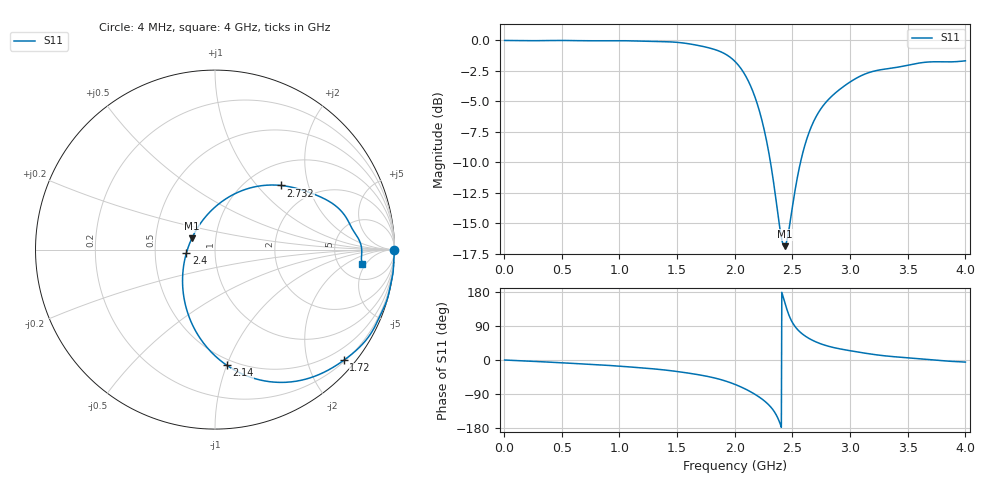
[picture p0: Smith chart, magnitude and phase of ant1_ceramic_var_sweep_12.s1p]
! TOUCHSTONE file generated by CST MICROWAVE STUDIO
! Date and time: Fri May  6 09:22:52 2022
! Project name: ant1_ceramic_sweep_10porcent.cst
! Parameters = {e=0.035; h=1.6; i=0.8; l1=0.5; l2=17.17; ls=80; wl=1.7; ws=30}
! Header version: 2018
! Port assignment regex: !\s*Touchstone port\s*([0-9]+)\s*=\s*(CST MWS port|CST DS port)\s*([0-9]+|Zmin|Zmax)\s*\(\"(.*)\"\)(\s*mode\s*([0-9]+))?.*
! Touchstone port assignment:
! Touchstone port 1 = CST MWS port 1 ("")
# GHz S DB R 50
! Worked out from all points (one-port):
!   1000 points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, 4 MHz to 4 GHz, reference 50 ohm
!   lowest |S11| = -16.9 dB at 2.432 GHz (marker M1), VSWR 1.34, Z = 38.3 + j4.96 ohm
!   |S11| at or under -10 dB: 2.31 GHz to 2.57 GHz (259.7 MHz wide, 10.6 % of centre)
!   S11 on the Smith chart (normalised r, x): 4 MHz: open; 1.72 GHz: 0.23, -2.68; 2.14 GHz: 0.45, -1.00; 2.4 GHz: 0.73, -0.03; 2.732 GHz: 1.40, +1.35; 4 GHz: 8.36, -4.15
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0.004  -0.00 -0.1
0.504  -0.00 -7.4
1.004  -0.01 -16.4
1.332  -0.09 -24.4
1.504  -0.16 -30.5
1.72  -0.48 -40.7
1.872  -0.90 -51.1
1.936  -1.22 -57.1
2.004  -1.74 -64.7
2.076  -2.62 -74.3
2.14  -3.79 -84.3
2.216  -5.86 -98.6
2.28  -8.43 -114.0
2.34  -11.85 -135.1
2.4  -15.93 -173.9
2.432  -16.86 153.8
2.46  -16.03 126.4
2.504  -13.39 96.9
2.552  -10.78 78.0
2.604  -8.71 64.6
2.664  -7.06 53.5
2.732  -5.81 44.3
2.844  -4.54 33.8
3.004  -3.38 24.3
3.204  -2.52 14.6
3.504  -2.02 5.7
3.68  -1.76 0.9
4  -1.67 -5.5
